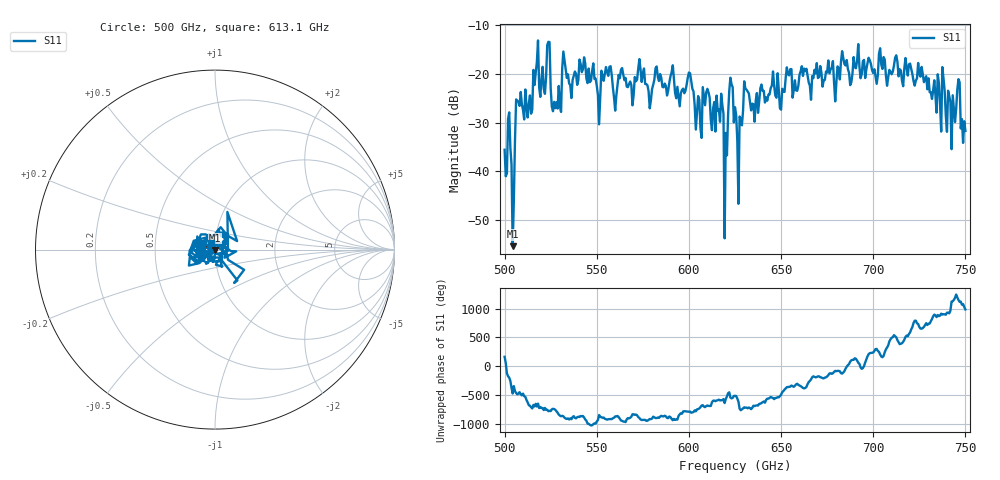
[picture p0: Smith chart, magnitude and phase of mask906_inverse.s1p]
!Created with skrf (http://scikit-rf.org).
# GHz S MA R 50.0
!freq magS11 angS11
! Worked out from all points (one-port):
!   401 points, 500 GHz to 750 GHz, reference 50 ohm
!   lowest |S11| = -55.4 dB at 504.4 GHz (marker M1), VSWR 1.00, Z = 49.9 - j0.157 ohm
!   |S11| at or under -10 dB: start of sweep to end of sweep
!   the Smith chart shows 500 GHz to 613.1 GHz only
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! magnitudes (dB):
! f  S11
! 500 GHz  -35.6
! 502.5 GHz  -27.9
! 504.4 GHz  -55.4
! 507.5 GHz  -25.7
! 513.8 GHz  -24.4
! 516.9 GHz  -19.7
! 520.6 GHz  -18.5
! 523.8 GHz  -13.4
! 526.9 GHz  -25.7
! 531.2 GHz  -18.8
! 560 GHz  -27.5
! 562.5 GHz  -20.9
! 593.8 GHz  -22.6
! 600 GHz  -19.7
! 605.6 GHz  -25.3
! 617.5 GHz  -24.1
! 620 GHz  -32.1
! 622.5 GHz  -20.8
! 625 GHz  -26.8
! 627.5 GHz  -28.7
! 631.2 GHz  -23.2
! 635 GHz  -26.2
! 656.2 GHz  -24.9
! 687.5 GHz  -22.3
! 718.8 GHz  -20.3
! 741.2 GHz  -24.5
! 746.2 GHz  -21.1
! 750 GHz  -31.7
